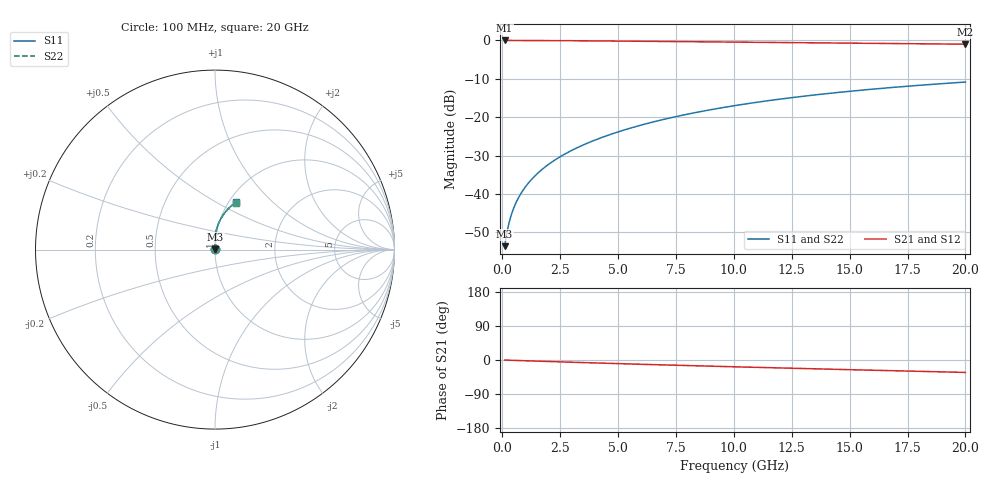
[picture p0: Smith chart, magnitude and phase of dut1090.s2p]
! Touchstone file exported from HFSS 2024.1.0
!  File:  C:/UserFiles/LocalFiles/RDL_TSV_Batchsim/temp_RDL_bottom_1090_1780053594.aedt
!  Generated:  07:21:58 PM May 29, 2026
!  Design:  RDL_bottom
!  Project:  temp_RDL_bottom_1090_1780053594
!  Setup:  Setup1
!  Solution:  Sweep
! Variables:
!  dtsv = 10.80580581um
!  hbump = 3um
!  htsv = 66.73um
!  ldown = 474.78um
!  lrdl = 100um
!  p = 40
!  p1 = 50.81um
!  rhole = 1um
!  t = 450um
!  tdown = 4.86um
!  trdl = 3.915915916um
!  wdown = 24.59um
!  wrdl = 20um
# GHz S MA R 50.000000
! Terminal data exported
! Port[1] = RDL1_T1
! Port[2] = RDL1_T2
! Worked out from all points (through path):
!   200 points, 100 MHz to 20 GHz, reference 50 ohm
!   highest |S21| = -0.01 dB at 100 MHz (marker M1); lowest = -1.0 dB at 20 GHz (marker M2)
!   group delay of S21, straight-line fit = 4.49 ps
!   lowest |S11| = -53.6 dB at 100 MHz (marker M3), VSWR 1.00, Z = 50.2 + j0.136 ohm
!   |S11| at or under -10 dB: start of sweep to end of sweep
!   |S22| runs from -53.6 to -10.9 dB; largest |S21 - S12| = 3.1e-15
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0.1  0.002091 40.5  0.9984 -0.2  0.9984 -0.2  0.002091 40.5
! Gamma 0 0 0 0
! Port Impedance 50 0 50 0
0.2  0.003157 57.9  0.9983 -0.4  0.9983 -0.4  0.003158 57.9
0.3  0.004324 65.6  0.9981 -0.6  0.9981 -0.6  0.004324 65.6
0.4  0.005492 69.9  0.998 -0.8  0.998 -0.8  0.005492 69.9
0.5  0.006647 72.8  0.9978 -1.0  0.9978 -1.0  0.006647 72.8
0.6  0.007794 74.9  0.9977 -1.2  0.9977 -1.2  0.007794 74.9
0.8  0.01009 78.1  0.9974 -1.6  0.9974 -1.6  0.01009 78.0
1.1  0.01356 81.1  0.9968 -2.2  0.9968 -2.2  0.01356 81.1
1.3  0.01591 82.6  0.9964 -2.6  0.9964 -2.6  0.01591 82.6
1.6  0.01948 84.2  0.9957 -3.2  0.9957 -3.2  0.01948 84.2
2.1  0.02557 86.0  0.9942 -4.2  0.9942 -4.2  0.02557 86.0
2.7  0.0331 87.3  0.992 -5.3  0.992 -5.3  0.0331 87.3
3.5  0.04355 88.3  0.9884 -6.8  0.9884 -6.8  0.04354 88.3
4.2  0.05306 88.6  0.9848 -8.1  0.9848 -8.1  0.05306 88.6
5  0.06435 88.6  0.9804 -9.6  0.9804 -9.6  0.06434 88.5
6.8  0.09105 87.3  0.9699 -12.7  0.9699 -12.7  0.09103 87.3
8.4  0.1158 85.4  0.9602 -15.3  0.9602 -15.3  0.1157 85.3
10.1  0.1424 82.8  0.9501 -18.1  0.9501 -18.1  0.1424 82.8
11.7  0.1674 80.2  0.9407 -20.6  0.9407 -20.6  0.1673 80.1
13.4  0.1935 77.3  0.9307 -23.2  0.9307 -23.2  0.1934 77.2
16.7  0.242 71.7  0.9116 -28.1  0.9116 -28.1  0.2418 71.6
20  0.2868 66.3  0.8925 -32.8  0.8925 -32.8  0.2867 66.2
